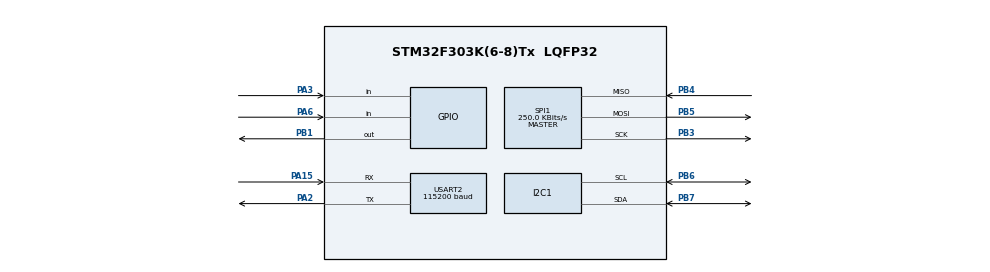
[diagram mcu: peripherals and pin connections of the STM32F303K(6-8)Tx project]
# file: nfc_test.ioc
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Dma.Request0=USART2_TX
Dma.USART2_TX.0.Direction=DMA_MEMORY_TO_PERIPH
Dma.USART2_TX.0.Instance=DMA1_Channel7
Dma.USART2_TX.0.MemDataAlignment=DMA_MDATAALIGN_BYTE
Dma.USART2_TX.0.MemInc=DMA_MINC_ENABLE
Dma.USART2_TX.0.Mode=DMA_NORMAL
Dma.USART2_TX.0.PeriphDataAlignment=DMA_PDATAALIGN_BYTE
Dma.USART2_TX.0.PeriphInc=DMA_PINC_DISABLE
Dma.USART2_TX.0.Priority=DMA_PRIORITY_MEDIUM
I2C1.OwnAddress=1
Mcu.Family=STM32F3
Mcu.Name=STM32F303K(6-8)Tx
Mcu.Package=LQFP32
NVIC.DMA1_Channel7_IRQn=true\:0\:0\:false\:false\:true\:false\:true\:true
NVIC.I2C1_EV_IRQn=true\:0\:0\:false\:false\:true\:true\:true\:true
NVIC.PriorityGroup=NVIC_PRIORITYGROUP_4
NVIC.USART2_IRQn=true\:0\:0\:false\:false\:true\:true\:true\:true
PA15.Mode=Asynchronous
PA15.Signal=USART2_RX
PA2.Mode=Asynchronous
PA2.Signal=USART2_TX
PA3.Signal=GPIO_Input
PA6.Signal=GPIO_Input
PB1.GPIO_PuPd=GPIO_PULLUP
PB1.PinState=GPIO_PIN_SET
PB1.Signal=GPIO_Output
PB3.GPIO_PuPd=GPIO_PULLUP
PB3.Mode=Full_Duplex_Master
PB3.Signal=SPI1_SCK
PB4.GPIO_PuPd=GPIO_PULLUP
PB4.Mode=Full_Duplex_Master
PB4.Signal=SPI1_MISO
PB5.GPIO_PuPd=GPIO_PULLUP
PB5.Mode=Full_Duplex_Master
PB5.Signal=SPI1_MOSI
PB6.GPIO_Pu=GPIO_PULLUP
PB6.Mode=I2C
PB6.Signal=I2C1_SCL
PB7.GPIO_Pu=GPIO_PULLUP
PB7.Mode=I2C
PB7.Signal=I2C1_SDA
ProjectManager.HeapSize=0x200
ProjectManager.StackSize=0x400
ProjectManager.TargetToolchain=STM32CubeIDE
RCC.AHBFreq_Value=8000000
RCC.APB1Freq_Value=8000000
RCC.APB2Freq_Value=8000000
RCC.CortexFreq_Value=8000000
RCC.HSE_VALUE=8000000
RCC.HSI_VALUE=8000000
RCC.SYSCLKFreq_VALUE=8000000
SPI1.BaudRatePrescaler=SPI_BAUDRATEPRESCALER_32
SPI1.CalculateBaudRate=250.0 KBits/s
SPI1.DataSize=SPI_DATASIZE_8BIT
SPI1.Direction=SPI_DIRECTION_2LINES
SPI1.Mode=SPI_MODE_MASTER
SPI1.VirtualType=VM_MASTER
USART2.BaudRate=115200
USART2.VirtualMode-Asynchronous=VM_ASYNC
VP_FATFS_VS_Generic.Mode=User_defined
board=custom

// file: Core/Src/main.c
/* USER CODE BEGIN Header */
/**
  ******************************************************************************
  * @file           : main.c
  * @brief          : Main program body
  ******************************************************************************
  * @attention
  *
  * Copyright (c) 2025 STMicroelectronics.
  * All rights reserved.
  *
  * This software is licensed under terms that can be found in the LICENSE file
  * in the root directory of this software component.
  * If no LICENSE file comes with this software, it is provided AS-IS.
  *
  ******************************************************************************
  */
/* USER CODE END Header */
#include "main.h"
#include "dma.h"
#include "fatfs.h"
#include "i2c.h"
#include "spi.h"
#include "usart.h"
#include "gpio.h"

/* USER CODE BEGIN Includes */
#include "ff.h"
#include "string.h"
#include "ff_gen_drv.h"
#include "sd_spi.h"

#include "sd_card.h"
#include "jokes.h"

#include <stdio.h>
#include <string.h>
#include <nfc_io.h>

//this include to separate .h
//#include "../M24SR/m24sr.h"

/* USER CODE END Includes */

/* USER CODE BEGIN PV */
//static uint8_t ndefBuffer[256];
//static uint8_t uidBuffer[7];

/* USER CODE END PV */

void SystemClock_Config(void);

/* USER CODE BEGIN 0 */
static void PrintHex(const uint8_t *data, uint16_t len)
{
    char buf[8];

    for (uint16_t i = 0; i < len; i++)
    {
        sprintf(buf, "%02X ", data[i]);
        USART2_PutBuffer((uint8_t *)buf, strlen(buf));

        if ((i + 1) % 16 == 0)
        {
            USART2_PutBuffer((uint8_t *)"\r\n", 2);
        }
    }

    if (len % 16 != 0)
    {
        USART2_PutBuffer((uint8_t *)"\r\n", 2);
    }
}

/* USER CODE END 0 */

int main(void)
{

  /* MCU Configuration--------------------------------------------------------*/

  /* Reset of all peripherals, Initializes the Flash interface and the Systick. */
  HAL_Init();

  /* Configure the system clock */
  SystemClock_Config();

  /* Initialize all configured peripherals */
  MX_GPIO_Init();
  MX_DMA_Init();
  MX_I2C1_Init();
  MX_USART2_UART_Init();
  MX_SPI1_Init();
  MX_FATFS_Init();
  /* USER CODE BEGIN 2 */

  char formatted_string[100];
  char msg[128];
  uint16_t status = 0;

  FATFS fs;
  FIL file;
  FRESULT res;

  res = f_mount(&fs, "", 1);

  char joke[200];

  res = f_open(&file, "jokes.txt", FA_READ);
  if (res == FR_OK) {
      f_gets(joke, sizeof(joke), &file);
      f_close(&file);
  }

  /*res = f_open(&file, "jokes.txt", FA_OPEN_APPEND | FA_WRITE);
  if (res == FR_OK) {
      f_puts("Novy vtip zo STM32 😄\n", &file);
      f_close(&file);
  }*/

  M24SR_Init(((M24SR_ADDR << 1) | 0x00), M24SR_GPO_POLLING); //M24SR_WAITINGTIME_POLLING

  //datasheet p. 24
  //M24SR_ManageRFGPO(M24SR_I2C_READ, 1);
  /*status = NFC_IO_IsDeviceReady(M24SR_I2C_READ, 3);

   if (status == NFC_IO_STATUS_SUCCESS)
   {
       USART2_PutBuffer((uint8_t *)"M24SR READY\r\n", 13);
       LL_mDelay(50);
   }
   else
   {
       USART2_PutBuffer((uint8_t *)"M24SR NOT READY\r\n", 18);
       LL_mDelay(50);
   }*/

  status = M24SR_KillSession(M24SR_I2C_READ);
  sprintf(msg, "M24SR found. Kill session status: 0x%04X\r\n", status);
  USART2_PutBuffer((uint8_t *)msg, strlen(msg));
  LL_mDelay(50);

  //to prevent blocked nfc at startup
  M24SR_Deselect(M24SR_I2C_READ);

  /*----NDEF format test----*/
  /*char myStaticJoke[] = "This is a static test joke";
    uint8_t ndefBuffer[300];
    uint16_t ndefLen;
    ndefLen = Convert_to_NDEF(myStaticJoke, ndefBuffer);
    if (ndefLen > 0) {
        USART2_PutBuffer((uint8_t*)"NDEF Conversion Success!\r\n", 26);

        for(int i=0; i<ndefLen; i++) {
            sprintf(formatted_string, "%02X ", ndefBuffer[i]);
            USART2_PutBuffer((uint8_t*)formatted_string, strlen(formatted_string));
        }
        USART2_PutBuffer((uint8_t*)"\r\n", 2);
    } else {
        USART2_PutBuffer((uint8_t*)"NDEF Failed (Too long?)\r\n", 25);
    }
    */

  /*----Parse request + send NDEF file*/
  char get_joke[] = "GET_JOKE";
  char add_joke[] = "ADD_JOKE";

  //NFC_ProcessRequest(get_joke);

  /* USER CODE END 2 */

  /* Infinite loop */
  /* USER CODE BEGIN WHILE */

  while (1)
  {

	  //sprintf(formatted_string, "test\n\r\0");
	  //USART2_PutBuffer(formatted_string, strlen(formatted_string));
	  //LL_mDelay(100);
	  //LL_GPIO_TogglePin(GPIOB, LL_GPIO_PIN_3);
	  //LL_mDelay(200);

	  //i2c read test output send
	  /*for (uint16_t i = 0; i < ndef_len; i++)
	  {
	      char hex[5];
	      sprintf(hex, "%02X ", ndef_raw[i]);
	      USART2_PutBuffer((uint8_t *)hex, strlen(hex));
	  }
	  USART2_PutBuffer((uint8_t *)"\r\n", 2);

	  LL_mDelay(5000);*/

	  //NFC_IO_ReadState(&state);
	  //USART2_PutBuffer((uint8_t *)"NFC alive\r\n", 11);
	  //LL_mDelay(100);
/*
	  if (LL_GPIO_IsInputPinSet(GPIOA, LL_GPIO_PIN_6))
	          USART2_PutBuffer((uint8_t *)"GPO=HIGH\r\n", 10);
	      else
	          USART2_PutBuffer((uint8_t *)"GPO=LOW\r\n", 9);

	  LL_mDelay(50);*/

	  if (!LL_GPIO_IsInputPinSet(GPIOA, LL_GPIO_PIN_3)){
		  USART2_PutBuffer((uint8_t *)"PA3=set\r\n", 9);
		  LL_mDelay(20);

		  uint8_t ndef_raw[256];
		  char text_out[256];
		  uint16_t ndef_len = 0;

		  //i2c read test
		  LL_mDelay(100);
		  status = Read_NDEF_From_NFC(ndef_raw, sizeof(ndef_raw), &ndef_len);
		  LL_mDelay(100);

		  //char msg[64];
		  sprintf(msg, "Read status: 0x%04X, len: %u\r\n", status, ndef_len);
		  USART2_PutBuffer((uint8_t *)msg, strlen(msg));
		  LL_mDelay(20);
		  USART2_PutBuffer("\r\n", 2);
		  LL_mDelay(20);
		  PrintHex(ndef_raw, ndef_len);
		  LL_mDelay(20);
		  USART2_PutBuffer("\r\n", 2);
		  LL_mDelay(20);
		  uint8_t langLen = ndef_raw[4] & 0x3F;
		  USART2_PutBuffer(&ndef_raw[5 + langLen], ndef_raw[2] - 1 - langLen);
		  LL_mDelay(20);
		  USART2_PutBuffer("\r\n", 2);
		  LL_mDelay(20);

		  Extract_Text_From_NDEF(ndef_raw , text_out, 256);
		  LL_mDelay(20);

		  USART2_PutBuffer(&text_out, strlen(text_out));
		  LL_mDelay(20);
		  USART2_PutBuffer("\r\n", 2);
		  LL_mDelay(100);

		  NFC_ProcessRequest(text_out);

	  }
	  else {
		  //USART2_PutBuffer((uint8_t *)"PA3=not set\r\n", 13);
		  //LL_mDelay(20);
	  }

	  LL_mDelay(20);

    /* USER CODE END WHILE */

  }
}

void SystemClock_Config(void)
{
  LL_FLASH_SetLatency(LL_FLASH_LATENCY_0);
  while(LL_FLASH_GetLatency()!= LL_FLASH_LATENCY_0)
  {
  }
  LL_RCC_HSI_Enable();

   /* Wait till HSI is ready */
  while(LL_RCC_HSI_IsReady() != 1)
  {

  }
  LL_RCC_HSI_SetCalibTrimming(16);
  LL_RCC_SetAHBPrescaler(LL_RCC_SYSCLK_DIV_1);
  LL_RCC_SetAPB1Prescaler(LL_RCC_APB1_DIV_1);
  LL_RCC_SetAPB2Prescaler(LL_RCC_APB2_DIV_1);
  LL_RCC_SetSysClkSource(LL_RCC_SYS_CLKSOURCE_HSI);

   /* Wait till System clock is ready */
  while(LL_RCC_GetSysClkSource() != LL_RCC_SYS_CLKSOURCE_STATUS_HSI)
  {

  }
  LL_SetSystemCoreClock(8000000);

   /* Update the time base */
  if (HAL_InitTick (TICK_INT_PRIORITY) != HAL_OK)
  {
    Error_Handler();
  }
  LL_RCC_SetI2CClockSource(LL_RCC_I2C1_CLKSOURCE_HSI);
}

void Error_Handler(void)
{
  __disable_irq();
  while (1)
  {
  }
}
